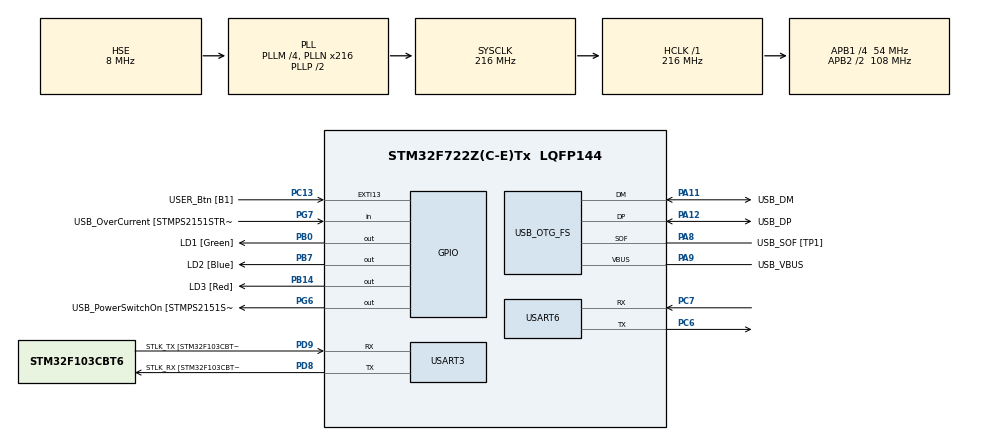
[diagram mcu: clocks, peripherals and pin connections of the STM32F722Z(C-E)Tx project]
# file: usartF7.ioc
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Dma.Request0=USART6_RX
Dma.Request1=USART6_TX
Dma.USART6_RX.0.Direction=DMA_PERIPH_TO_MEMORY
Dma.USART6_RX.0.FIFOMode=DMA_FIFOMODE_DISABLE
Dma.USART6_RX.0.Instance=DMA2_Stream1
Dma.USART6_RX.0.MemDataAlignment=DMA_MDATAALIGN_BYTE
Dma.USART6_RX.0.MemInc=DMA_MINC_ENABLE
Dma.USART6_RX.0.Mode=DMA_CIRCULAR
Dma.USART6_RX.0.PeriphDataAlignment=DMA_PDATAALIGN_BYTE
Dma.USART6_RX.0.PeriphInc=DMA_PINC_DISABLE
Dma.USART6_RX.0.Priority=DMA_PRIORITY_LOW
Dma.USART6_TX.1.Direction=DMA_MEMORY_TO_PERIPH
Dma.USART6_TX.1.FIFOMode=DMA_FIFOMODE_DISABLE
Dma.USART6_TX.1.Instance=DMA2_Stream6
Dma.USART6_TX.1.MemDataAlignment=DMA_MDATAALIGN_BYTE
Dma.USART6_TX.1.MemInc=DMA_MINC_ENABLE
Dma.USART6_TX.1.Mode=DMA_NORMAL
Dma.USART6_TX.1.PeriphDataAlignment=DMA_PDATAALIGN_BYTE
Dma.USART6_TX.1.PeriphInc=DMA_PINC_DISABLE
Dma.USART6_TX.1.Priority=DMA_PRIORITY_LOW
Mcu.Family=STM32F7
Mcu.Name=STM32F722Z(C-E)Tx
Mcu.Package=LQFP144
NVIC.DMA2_Stream1_IRQn=true\:0\:0\:false\:false\:true\:false\:true\:true
NVIC.DMA2_Stream6_IRQn=true\:0\:0\:false\:false\:true\:false\:true\:true
NVIC.PriorityGroup=NVIC_PRIORITYGROUP_4
NVIC.USART6_IRQn=true\:0\:0\:false\:false\:true\:true\:true\:true
PA10.GPIO_Label=USB_ID
PA10.Signal=USB_OTG_FS_ID
PA11.GPIO_Label=USB_DM
PA11.Mode=Device_Only
PA11.Signal=USB_OTG_FS_DM
PA12.GPIO_Label=USB_DP
PA12.Mode=Device_Only
PA12.Signal=USB_OTG_FS_DP
PA13.GPIO_Label=TMS
PA13.Mode=Serial_Wire
PA13.Signal=SYS_JTMS-SWDIO
PA14.GPIO_Label=TCK
PA14.Mode=Serial_Wire
PA14.Signal=SYS_JTCK-SWCLK
PA8.GPIO_Label=USB_SOF [TP1]
PA8.Mode=Activate_SOF_FS
PA8.Signal=USB_OTG_FS_SOF
PA9.GPIO_Label=USB_VBUS
PA9.Mode=Activate_VBUS
PA9.Signal=USB_OTG_FS_VBUS
PB0.GPIO_Label=LD1 [Green]
PB0.Signal=GPIO_Output
PB14.GPIO_Label=LD3 [Red]
PB14.Signal=GPIO_Output
PB3.GPIO_Label=SWO
PB3.Signal=SYS_JTDO-SWO
PB7.GPIO_Label=LD2 [Blue]
PB7.Signal=GPIO_Output
PC13.GPIO_Label=USER_Btn [B1]
PC13.Signal=GPXTI13
PC14-OSC32_IN.Mode=LSE-External-Oscillator
PC14-OSC32_IN.Signal=RCC_OSC32_IN
PC15-OSC32_OUT.Mode=LSE-External-Oscillator
PC15-OSC32_OUT.Signal=RCC_OSC32_OUT
PC6.Mode=Asynchronous
PC6.Signal=USART6_TX
PC7.Mode=Asynchronous
PC7.Signal=USART6_RX
PD8.GPIO_Label=STLK_RX [STM32F103CBT6_PA3]
PD8.Mode=Asynchronous
PD8.Signal=USART3_TX
PD9.GPIO_Label=STLK_TX [STM32F103CBT6_PA2]
PD9.Mode=Asynchronous
PD9.Signal=USART3_RX
PG6.GPIO_Label=USB_PowerSwitchOn [STMPS2151STR_EN]
PG6.Signal=GPIO_Output
PG7.GPIO_Label=USB_OverCurrent [STMPS2151STR_FAULT]
PG7.Signal=GPIO_Input
PH0-OSC_IN.GPIO_Label=MCO
PH0-OSC_IN.Mode=HSE-External-Clock-Source
PH0-OSC_IN.Signal=RCC_OSC_IN
PH1-OSC_OUT.Mode=HSE-External-Clock-Source
PH1-OSC_OUT.Signal=RCC_OSC_OUT
ProjectManager.HeapSize=0x200
ProjectManager.StackSize=0x400
ProjectManager.TargetToolchain=STM32CubeIDE
RCC.48MHZClocksFreq_Value=24000000
RCC.AHBFreq_Value=216000000
RCC.APB1CLKDivider=RCC_HCLK_DIV4
RCC.APB1Freq_Value=54000000
RCC.APB1TimFreq_Value=108000000
RCC.APB2CLKDivider=RCC_HCLK_DIV2
RCC.APB2Freq_Value=108000000
RCC.APB2TimFreq_Value=216000000
RCC.CortexFreq_Value=216000000
RCC.HCLKFreq_Value=216000000
RCC.HSE_VALUE=8000000
RCC.HSI_VALUE=16000000
RCC.PLLM=4
RCC.PLLMUL=RCC_PLL_MUL9
RCC.PLLN=216
RCC.PLLQ=9
RCC.PRESCALERUSB=RCC_USBCLKSOURCE_PLL_DIV1_5
RCC.SYSCLKFreq_VALUE=216000000
RCC.SYSCLKSource=RCC_SYSCLKSOURCE_PLLCLK
RCC.SYSCLKSourceVirtual=RCC_SYSCLKSOURCE_PLLCLK
RCC.USBFreq_Value=48000000
RCC.VCOOutputFreq_Value=432000000
USART3.VirtualMode-Asynchronous=VM_ASYNC
USART6.VirtualMode-Asynchronous=VM_ASYNC
USB_OTG_FS.VirtualMode=Device_Only
board=NUCLEO-F722ZE

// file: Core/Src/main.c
/* USER CODE BEGIN Header */
/**
  ******************************************************************************
  * @file           : main.c
  * @brief          : Main program body
  ******************************************************************************
  * @attention
  *
  * Copyright (c) 2025 STMicroelectronics.
  * All rights reserved.
  *
  * This software is licensed under terms that can be found in the LICENSE file
  * in the root directory of this software component.
  * If no LICENSE file comes with this software, it is provided AS-IS.
  *
  ******************************************************************************
  */
/* USER CODE END Header */
#include "main.h"

/* USER CODE BEGIN Includes */
#include "crc8.h"
#include "ring_buf.h"
#include "usart_dma.h"
#include "frame_parser.h"

/* USER CODE END Includes */

UART_HandleTypeDef huart3;
UART_HandleTypeDef huart6;
DMA_HandleTypeDef hdma_usart6_rx;
DMA_HandleTypeDef hdma_usart6_tx;

PCD_HandleTypeDef hpcd_USB_OTG_FS;

void SystemClock_Config(void);
static void MX_GPIO_Init(void);
static void MX_DMA_Init(void);
static void MX_USB_OTG_FS_PCD_Init(void);
static void MX_USART3_UART_Init(void);
static void MX_USART6_UART_Init(void);

int main(void)
{

  /* MCU Configuration--------------------------------------------------------*/

  /* Reset of all peripherals, Initializes the Flash interface and the Systick. */
  HAL_Init();

  /* Configure the system clock */
  SystemClock_Config();

  /* Initialize all configured peripherals */
  MX_GPIO_Init();
  MX_DMA_Init();
  MX_USB_OTG_FS_PCD_Init();
  MX_USART3_UART_Init();
  MX_USART6_UART_Init();
  /* USER CODE BEGIN 2 */
  uint8_t frameToSend[MAX_FRAME_SIZE];
  usart_dma_init(&huart6);
  /* USER CODE END 2 */

  /* Infinite loop */
  while (1)
  {

    /* USER CODE BEGIN 3 */
	  usartMessage_t message;
	  message = usart_dma_frameProcess();

	  // Data to send
	  usartMessage_t dataToSend = {
	  	  				  .addr = 1,
	  	  				  .arg = 2,
	  	  				  .cmd = 3,
	  };
	  //	  memcpy(dataToSend.payload, "HelloWorld", sizeof("HelloWorld"));
	  //	  dataToSend.len = sizeof("HelloWorld");
	  for (uint8_t z = 0; z < MAX_PAYLOAD_SIZE; z++) {
		  dataToSend.payload[z] = z;
	  }
	  dataToSend.len = MAX_PAYLOAD_SIZE;
	  // parse into frame
	  memset(frameToSend, 0, MAX_FRAME_SIZE);
	  uint8_t frameSize = frame_parser_create(frameToSend, &dataToSend);

	  // send over usart
	  usart_dma_SendFrame(frameToSend, frameSize);
	  HAL_Delay(500);
  }
  /* USER CODE END 3 */
}

void SystemClock_Config(void)
{
  RCC_OscInitTypeDef RCC_OscInitStruct = {0};
  RCC_ClkInitTypeDef RCC_ClkInitStruct = {0};

  /** Configure LSE Drive Capability
  */
  HAL_PWR_EnableBkUpAccess();

  /** Configure the main internal regulator output voltage
  */
  __HAL_RCC_PWR_CLK_ENABLE();
  __HAL_PWR_VOLTAGESCALING_CONFIG(PWR_REGULATOR_VOLTAGE_SCALE1);

  /** Initializes the RCC Oscillators according to the specified parameters
  * in the RCC_OscInitTypeDef structure.
  */
  RCC_OscInitStruct.OscillatorType = RCC_OSCILLATORTYPE_HSE;
  RCC_OscInitStruct.HSEState = RCC_HSE_BYPASS;
  RCC_OscInitStruct.PLL.PLLState = RCC_PLL_ON;
  RCC_OscInitStruct.PLL.PLLSource = RCC_PLLSOURCE_HSE;
  RCC_OscInitStruct.PLL.PLLM = 4;
  RCC_OscInitStruct.PLL.PLLN = 216;
  RCC_OscInitStruct.PLL.PLLP = RCC_PLLP_DIV2;
  RCC_OscInitStruct.PLL.PLLQ = 9;
  if (HAL_RCC_OscConfig(&RCC_OscInitStruct) != HAL_OK)
  {
    Error_Handler();
  }

  /** Activate the Over-Drive mode
  */
  if (HAL_PWREx_EnableOverDrive() != HAL_OK)
  {
    Error_Handler();
  }

  /** Initializes the CPU, AHB and APB buses clocks
  */
  RCC_ClkInitStruct.ClockType = RCC_CLOCKTYPE_HCLK|RCC_CLOCKTYPE_SYSCLK
                              |RCC_CLOCKTYPE_PCLK1|RCC_CLOCKTYPE_PCLK2;
  RCC_ClkInitStruct.SYSCLKSource = RCC_SYSCLKSOURCE_PLLCLK;
  RCC_ClkInitStruct.AHBCLKDivider = RCC_SYSCLK_DIV1;
  RCC_ClkInitStruct.APB1CLKDivider = RCC_HCLK_DIV4;
  RCC_ClkInitStruct.APB2CLKDivider = RCC_HCLK_DIV2;

  if (HAL_RCC_ClockConfig(&RCC_ClkInitStruct, FLASH_LATENCY_7) != HAL_OK)
  {
    Error_Handler();
  }
}

static void MX_USART3_UART_Init(void)
{

  huart3.Instance = USART3;
  huart3.Init.BaudRate = 115200;
  huart3.Init.WordLength = UART_WORDLENGTH_8B;
  huart3.Init.StopBits = UART_STOPBITS_1;
  huart3.Init.Parity = UART_PARITY_NONE;
  huart3.Init.Mode = UART_MODE_TX_RX;
  huart3.Init.HwFlowCtl = UART_HWCONTROL_NONE;
  huart3.Init.OverSampling = UART_OVERSAMPLING_16;
  huart3.Init.OneBitSampling = UART_ONE_BIT_SAMPLE_DISABLE;
  huart3.AdvancedInit.AdvFeatureInit = UART_ADVFEATURE_NO_INIT;
  if (HAL_UART_Init(&huart3) != HAL_OK)
  {
    Error_Handler();
  }

}

static void MX_USART6_UART_Init(void)
{

  huart6.Instance = USART6;
  huart6.Init.BaudRate = 115200;
  huart6.Init.WordLength = UART_WORDLENGTH_8B;
  huart6.Init.StopBits = UART_STOPBITS_1;
  huart6.Init.Parity = UART_PARITY_NONE;
  huart6.Init.Mode = UART_MODE_TX_RX;
  huart6.Init.HwFlowCtl = UART_HWCONTROL_NONE;
  huart6.Init.OverSampling = UART_OVERSAMPLING_16;
  huart6.Init.OneBitSampling = UART_ONE_BIT_SAMPLE_DISABLE;
  huart6.AdvancedInit.AdvFeatureInit = UART_ADVFEATURE_NO_INIT;
  if (HAL_UART_Init(&huart6) != HAL_OK)
  {
    Error_Handler();
  }
  /* USER CODE BEGIN USART6_Init 2 */
  __HAL_UART_DISABLE(&huart6);
  MODIFY_REG(huart6.Instance->CR2, USART_CR2_ADD, (191 << USART_CR2_ADD_Pos));
  SET_BIT(huart6.Instance->CR1, USART_CR1_CMIE);
  __HAL_UART_ENABLE(&huart6);

  /* USER CODE END USART6_Init 2 */

}

static void MX_USB_OTG_FS_PCD_Init(void)
{

  hpcd_USB_OTG_FS.Instance = USB_OTG_FS;
  hpcd_USB_OTG_FS.Init.dev_endpoints = 6;
  hpcd_USB_OTG_FS.Init.speed = PCD_SPEED_FULL;
  hpcd_USB_OTG_FS.Init.dma_enable = DISABLE;
  hpcd_USB_OTG_FS.Init.phy_itface = PCD_PHY_EMBEDDED;
  hpcd_USB_OTG_FS.Init.Sof_enable = ENABLE;
  hpcd_USB_OTG_FS.Init.low_power_enable = DISABLE;
  hpcd_USB_OTG_FS.Init.lpm_enable = DISABLE;
  hpcd_USB_OTG_FS.Init.battery_charging_enable = ENABLE;
  hpcd_USB_OTG_FS.Init.vbus_sensing_enable = ENABLE;
  hpcd_USB_OTG_FS.Init.use_dedicated_ep1 = DISABLE;
  if (HAL_PCD_Init(&hpcd_USB_OTG_FS) != HAL_OK)
  {
    Error_Handler();
  }

}

static void MX_DMA_Init(void)
{

  /* DMA controller clock enable */
  __HAL_RCC_DMA2_CLK_ENABLE();

  /* DMA interrupt init */
  /* DMA2_Stream1_IRQn interrupt configuration */
  HAL_NVIC_SetPriority(DMA2_Stream1_IRQn, 0, 0);
  HAL_NVIC_EnableIRQ(DMA2_Stream1_IRQn);
  /* DMA2_Stream6_IRQn interrupt configuration */
  HAL_NVIC_SetPriority(DMA2_Stream6_IRQn, 0, 0);
  HAL_NVIC_EnableIRQ(DMA2_Stream6_IRQn);

}

static void MX_GPIO_Init(void)
{
  GPIO_InitTypeDef GPIO_InitStruct = {0};

  /* GPIO Ports Clock Enable */
  __HAL_RCC_GPIOC_CLK_ENABLE();
  __HAL_RCC_GPIOH_CLK_ENABLE();
  __HAL_RCC_GPIOB_CLK_ENABLE();
  __HAL_RCC_GPIOD_CLK_ENABLE();
  __HAL_RCC_GPIOG_CLK_ENABLE();
  __HAL_RCC_GPIOA_CLK_ENABLE();

  /*Configure GPIO pin Output Level */
  HAL_GPIO_WritePin(GPIOB, LD1_Pin|LD3_Pin|LD2_Pin, GPIO_PIN_RESET);

  /*Configure GPIO pin Output Level */
  HAL_GPIO_WritePin(USB_PowerSwitchOn_GPIO_Port, USB_PowerSwitchOn_Pin, GPIO_PIN_RESET);

  /*Configure GPIO pin : USER_Btn_Pin */
  GPIO_InitStruct.Pin = USER_Btn_Pin;
  GPIO_InitStruct.Mode = GPIO_MODE_IT_RISING;
  GPIO_InitStruct.Pull = GPIO_NOPULL;
  HAL_GPIO_Init(USER_Btn_GPIO_Port, &GPIO_InitStruct);

  /*Configure GPIO pins : LD1_Pin LD3_Pin LD2_Pin */
  GPIO_InitStruct.Pin = LD1_Pin|LD3_Pin|LD2_Pin;
  GPIO_InitStruct.Mode = GPIO_MODE_OUTPUT_PP;
  GPIO_InitStruct.Pull = GPIO_NOPULL;
  GPIO_InitStruct.Speed = GPIO_SPEED_FREQ_LOW;
  HAL_GPIO_Init(GPIOB, &GPIO_InitStruct);

  /*Configure GPIO pin : USB_PowerSwitchOn_Pin */
  GPIO_InitStruct.Pin = USB_PowerSwitchOn_Pin;
  GPIO_InitStruct.Mode = GPIO_MODE_OUTPUT_PP;
  GPIO_InitStruct.Pull = GPIO_NOPULL;
  GPIO_InitStruct.Speed = GPIO_SPEED_FREQ_LOW;
  HAL_GPIO_Init(USB_PowerSwitchOn_GPIO_Port, &GPIO_InitStruct);

  /*Configure GPIO pin : USB_OverCurrent_Pin */
  GPIO_InitStruct.Pin = USB_OverCurrent_Pin;
  GPIO_InitStruct.Mode = GPIO_MODE_INPUT;
  GPIO_InitStruct.Pull = GPIO_NOPULL;
  HAL_GPIO_Init(USB_OverCurrent_GPIO_Port, &GPIO_InitStruct);

}

void Error_Handler(void)
{
  __disable_irq();
  while (1)
  {
  }
}
